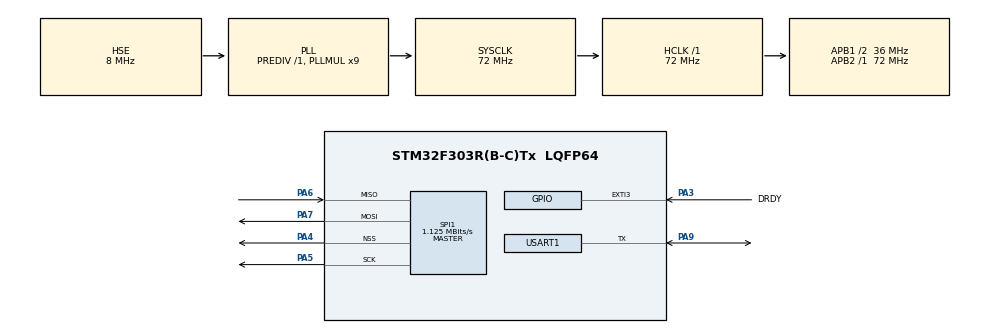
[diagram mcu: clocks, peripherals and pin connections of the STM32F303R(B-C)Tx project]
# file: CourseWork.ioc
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Mcu.Family=STM32F3
Mcu.Name=STM32F303R(B-C)Tx
Mcu.Package=LQFP64
NVIC.EXTI3_IRQn=true\:0\:0\:false\:false\:true\:true\:true
NVIC.PriorityGroup=NVIC_PRIORITYGROUP_4
PA13.Mode=Serial_Wire
PA13.Signal=SYS_JTMS-SWDIO
PA14.Mode=Serial_Wire
PA14.Signal=SYS_JTCK-SWCLK
PA3.GPIO_Label=DRDY
PA3.Signal=GPXTI3
PA4.Mode=NSS_Signal_Hard_Output
PA4.Signal=SPI1_NSS
PA5.Mode=Full_Duplex_Master
PA5.Signal=SPI1_SCK
PA6.Mode=Full_Duplex_Master
PA6.Signal=SPI1_MISO
PA7.Mode=Full_Duplex_Master
PA7.Signal=SPI1_MOSI
PA9.Mode=Half_duplex(single_wire_mode)
PA9.Signal=USART1_TX
PF0-OSC_IN.Mode=HSE-External-Oscillator
PF0-OSC_IN.Signal=RCC_OSC_IN
PF1-OSC_OUT.Mode=HSE-External-Oscillator
PF1-OSC_OUT.Signal=RCC_OSC_OUT
ProjectManager.HeapSize=0x200
ProjectManager.StackSize=0x400
ProjectManager.TargetToolchain=MDK-ARM V5.32
RCC.AHBFreq_Value=72000000
RCC.APB1CLKDivider=RCC_HCLK_DIV2
RCC.APB1Freq_Value=36000000
RCC.APB1TimFreq_Value=72000000
RCC.APB2Freq_Value=72000000
RCC.APB2TimFreq_Value=72000000
RCC.CortexFreq_Value=72000000
RCC.HCLKFreq_Value=72000000
RCC.HSE_VALUE=8000000
RCC.HSI_VALUE=8000000
RCC.LSE_VALUE=32768
RCC.PLLMUL=RCC_PLL_MUL9
RCC.PLLSourceVirtual=RCC_PLLSOURCE_HSE
RCC.SYSCLKFreq_VALUE=72000000
RCC.SYSCLKSourceVirtual=RCC_SYSCLKSOURCE_PLLCLK
RCC.USBFreq_Value=72000000
SPI1.BaudRatePrescaler=SPI_BAUDRATEPRESCALER_64
SPI1.CalculateBaudRate=1.125 MBits/s
SPI1.DataSize=SPI_DATASIZE_8BIT
SPI1.Direction=SPI_DIRECTION_2LINES
SPI1.Mode=SPI_MODE_MASTER
SPI1.VirtualNSS=VM_NSSHARD
SPI1.VirtualType=VM_MASTER
USART1.VirtualMode-Half_duplex(single_wire_mode)=VM_ASYNC
board=custom

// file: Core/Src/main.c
/* USER CODE BEGIN Header */
/**
  ******************************************************************************
  * @file           : main.c
  * @brief          : Main program body
  ******************************************************************************
  * @attention
  *
  * Copyright (c) 2021 STMicroelectronics.
  * All rights reserved.
  *
  * This software is licensed under terms that can be found in the LICENSE file
  * in the root directory of this software component.
  * If no LICENSE file comes with this software, it is provided AS-IS.
  *
  ******************************************************************************
  */
/* USER CODE END Header */
#include "main.h"

//#include "tm_stm32_fft.h"
//#include "stm32fxxx_hal.h"

/* USER CODE BEGIN Includes */

#include <math.h>
#include "funcs.c"

//#include "tm_stm32_fft.h"

/* USER CODE END Includes */

SPI_HandleTypeDef hspi1; // объект структуры SPI1, хранящий его настройки

UART_HandleTypeDef huart1; // объект структуры UART, хранящий его настройки

void SystemClock_Config(void); // прототип функций инициализации периферии тактирования
static void MX_GPIO_Init(void); // прототип функций инициализации периферии GPIO (портов ввода-вывода)
static void MX_SPI1_Init(void); // прототип функций инициализации SPI
static void MX_USART1_UART_Init(void); // прототип функций инициализации USART

/* USER CODE BEGIN 0 */
float ADC_Data[512];
float ADC_Data_im[512];
float out_Data[256];
float out_Data_im[256];
int amountOfPoints = 0;
int Flag = 0;
/* USER CODE END 0 */

int main(void)
{

  /* MCU Configuration--------------------------------------------------------*/

  /* Reset of all peripherals, Initializes the Flash interface and the Systick. */
  HAL_Init();

  /* Configure the system clock */
  SystemClock_Config();

  /* Initialize all configured peripherals */
  MX_GPIO_Init();
  MX_SPI1_Init();
  MX_USART1_UART_Init();

  /* Infinite loop */
  /* USER CODE BEGIN WHILE */

  while (1)
  {
	if (Flag == 1) {
		uint8_t ADC[3];
		HAL_SPI_Receive(&hspi1, ADC, 3, 100);

	    if(amountOfPoints < 512)
		{
		    ADC_Data[amountOfPoints] = (ADC[0] | (ADC[1]<<8) | (ADC[2]<<16))*2.5/0xFFFFFF; // перевод число в десятичную с.с.
		    ADC_Data_im[amountOfPoints] = 0;  // инициализация нулями
		    amountOfPoints++;
		}

	    Flag = 0;
	}
/* В идеале необходимо использоваться DMA, чтобы параллельно принимать новые данные и обрабатывать уже
 *  полученные, но было решено выполнять данные операции последовательно.*/

	if(amountOfPoints == 511)
	{
		amountOfPoints = 0;
		HAL_NVIC_DisableIRQ(EXTI3_IRQn); // выключение прерываний, чтоб они не приходили во время
										 // обработки уже полученных данных

		fft(ADC_Data, ADC_Data_im, 512);
		remove_frec(ADC_Data,ADC_Data_im,out_Data,out_Data_im,256);
		ifft(out_Data,out_Data_im,256);

		for(int i = 0; i < 256; i++)
		{
			HAL_UART_Transmit(&huart1, (uint8_t*)&out_Data[i], 1, 100); //(uint8_t*)
		}

		HAL_NVIC_EnableIRQ(EXTI3_IRQn);
	}

	//HAL_UART_Transmit(&huart1, &UART_Data, 1, 100);

    /* USER CODE END WHILE */

  }
}

void SystemClock_Config(void)
{
  RCC_OscInitTypeDef RCC_OscInitStruct = {0};
  RCC_ClkInitTypeDef RCC_ClkInitStruct = {0};
  RCC_PeriphCLKInitTypeDef PeriphClkInit = {0};

  /** Initializes the RCC Oscillators according to the specified parameters
  * in the RCC_OscInitTypeDef structure.
  */
  RCC_OscInitStruct.OscillatorType = RCC_OSCILLATORTYPE_HSE;
  RCC_OscInitStruct.HSEState = RCC_HSE_ON;
  RCC_OscInitStruct.HSEPredivValue = RCC_HSE_PREDIV_DIV1;
  RCC_OscInitStruct.HSIState = RCC_HSI_ON;
  RCC_OscInitStruct.PLL.PLLState = RCC_PLL_ON;
  RCC_OscInitStruct.PLL.PLLSource = RCC_PLLSOURCE_HSE;
  RCC_OscInitStruct.PLL.PLLMUL = RCC_PLL_MUL9;
  if (HAL_RCC_OscConfig(&RCC_OscInitStruct) != HAL_OK)
  {
    Error_Handler();
  }
  /** Initializes the CPU, AHB and APB buses clocks
  */
  RCC_ClkInitStruct.ClockType = RCC_CLOCKTYPE_HCLK|RCC_CLOCKTYPE_SYSCLK
                              |RCC_CLOCKTYPE_PCLK1|RCC_CLOCKTYPE_PCLK2;
  RCC_ClkInitStruct.SYSCLKSource = RCC_SYSCLKSOURCE_PLLCLK;
  RCC_ClkInitStruct.AHBCLKDivider = RCC_SYSCLK_DIV1;
  RCC_ClkInitStruct.APB1CLKDivider = RCC_HCLK_DIV2;
  RCC_ClkInitStruct.APB2CLKDivider = RCC_HCLK_DIV1;

  if (HAL_RCC_ClockConfig(&RCC_ClkInitStruct, FLASH_LATENCY_2) != HAL_OK)
  {
    Error_Handler();
  }
  PeriphClkInit.PeriphClockSelection = RCC_PERIPHCLK_USART1;
  PeriphClkInit.Usart1ClockSelection = RCC_USART1CLKSOURCE_PCLK2;
  if (HAL_RCCEx_PeriphCLKConfig(&PeriphClkInit) != HAL_OK)
  {
    Error_Handler();
  }
}

static void MX_SPI1_Init(void)
{

  /* SPI1 parameter configuration*/
  hspi1.Instance = SPI1;
  hspi1.Init.Mode = SPI_MODE_MASTER;
  hspi1.Init.Direction = SPI_DIRECTION_2LINES;
  hspi1.Init.DataSize = SPI_DATASIZE_8BIT;
  hspi1.Init.CLKPolarity = SPI_POLARITY_LOW;
  hspi1.Init.CLKPhase = SPI_PHASE_1EDGE;
  hspi1.Init.NSS = SPI_NSS_HARD_OUTPUT;
  hspi1.Init.BaudRatePrescaler = SPI_BAUDRATEPRESCALER_64;
  hspi1.Init.FirstBit = SPI_FIRSTBIT_MSB;
  hspi1.Init.TIMode = SPI_TIMODE_DISABLE;
  hspi1.Init.CRCCalculation = SPI_CRCCALCULATION_DISABLE;
  hspi1.Init.CRCPolynomial = 7;
  hspi1.Init.CRCLength = SPI_CRC_LENGTH_DATASIZE;
  hspi1.Init.NSSPMode = SPI_NSS_PULSE_ENABLE;
  if (HAL_SPI_Init(&hspi1) != HAL_OK)
  {
    Error_Handler();
  }

}

static void MX_USART1_UART_Init(void)
{

  huart1.Instance = USART1;
  huart1.Init.BaudRate = 38400;
  huart1.Init.WordLength = UART_WORDLENGTH_8B;
  huart1.Init.StopBits = UART_STOPBITS_1;
  huart1.Init.Parity = UART_PARITY_NONE;
  huart1.Init.Mode = UART_MODE_TX_RX;
  huart1.Init.HwFlowCtl = UART_HWCONTROL_NONE;
  huart1.Init.OverSampling = UART_OVERSAMPLING_16;
  huart1.Init.OneBitSampling = UART_ONE_BIT_SAMPLE_DISABLE;
  huart1.AdvancedInit.AdvFeatureInit = UART_ADVFEATURE_NO_INIT;
  if (HAL_HalfDuplex_Init(&huart1) != HAL_OK)
  {
    Error_Handler();
  }

}

static void MX_GPIO_Init(void)
{
  GPIO_InitTypeDef GPIO_InitStruct = {0};

  /* GPIO Ports Clock Enable */
  __HAL_RCC_GPIOF_CLK_ENABLE();
  __HAL_RCC_GPIOA_CLK_ENABLE();

  /*Configure GPIO pin : DRDY_Pin */
  GPIO_InitStruct.Pin = DRDY_Pin;
  GPIO_InitStruct.Mode = GPIO_MODE_IT_RISING;
  GPIO_InitStruct.Pull = GPIO_NOPULL;
  HAL_GPIO_Init(DRDY_GPIO_Port, &GPIO_InitStruct);

  /* EXTI interrupt init*/
  HAL_NVIC_SetPriority(EXTI3_IRQn, 0, 0);
  HAL_NVIC_EnableIRQ(EXTI3_IRQn);

}

/* USER CODE BEGIN 4 */

/************************************************************************************************/

/***************************************************************************************************/

/* USER CODE END 4 */

void Error_Handler(void)
{
  __disable_irq();
  while (1)
  {
  }
}
